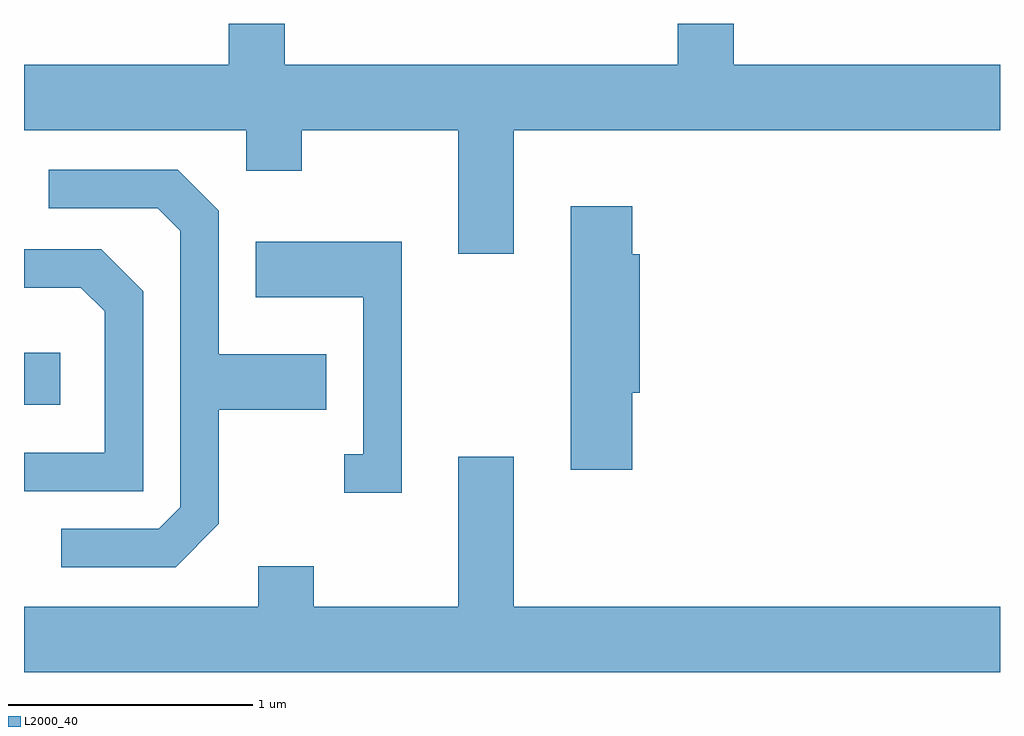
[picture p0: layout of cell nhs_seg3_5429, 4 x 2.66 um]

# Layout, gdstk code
import gdstk
lib = gdstk.Library(unit=1e-6, precision=1e-09)
def R(c, l, rs):  # rectangles x0, y0, x1, y1
    for r in rs: c.add(gdstk.rectangle(r[:2], r[2:], *l))
def P(c, l, *ps):  # polygons
    for p in ps: c.add(gdstk.Polygon(p, *l))
L2000_40 = (2000, 40)

nhs_seg3_5429 = lib.new_cell('nhs_seg3_5429')
R(nhs_seg3_5429, L2000_40, [(343.611,1240.331,343.759,1240.544)])
P(nhs_seg3_5429, L2000_40, [(345.619,1241.456),(347.611,1241.456),(347.611,1241.724),(346.519,1241.724),(346.519,1241.892),(346.291,1241.892),(346.291,1241.724),(344.679,1241.724),(344.679,1241.892),(344.451,1241.892),(344.451,1241.724),(343.611,1241.724),(343.611,1241.456),(344.521,1241.456),(344.521,1241.291),(344.749,1241.291),(344.749,1241.456),(345.391,1241.456),(345.391,1240.951),(345.619,1240.951)],
  [(344.409,1239.844),(344.409,1240.311),(344.849,1240.311),(344.849,1240.539),(344.409,1240.539),(344.409,1241.127),(344.242,1241.294),(343.713,1241.294),(343.713,1241.136),(344.159,1241.136),(344.251,1241.044),(344.251,1239.912),(344.164,1239.824),(343.763,1239.824),(343.763,1239.666),(344.232,1239.666)],
  [(346.104,1240.381),(346.134,1240.381),(346.134,1240.949),(346.104,1240.949),(346.104,1241.144),(345.851,1241.144),(345.851,1240.066),(346.104,1240.066)],
  [(345.159,1240.999),(344.561,1240.999),(344.561,1240.771),(345.001,1240.771),(345.001,1240.129),(344.923,1240.129),(344.923,1239.971),(345.159,1239.971)],
  [(344.099,1240.797),(343.927,1240.969),(343.611,1240.969),(343.611,1240.811),(343.844,1240.811),(343.941,1240.714),(343.941,1240.134),(343.611,1240.134),(343.611,1239.976),(344.099,1239.976)],
  [(347.611,1239.504),(345.619,1239.504),(345.619,1240.119),(345.391,1240.119),(345.391,1239.504),(344.799,1239.504),(344.799,1239.669),(344.571,1239.669),(344.571,1239.504),(343.611,1239.504),(343.611,1239.236),(347.611,1239.236)])

lib.write_gds('nhs_seg3_5429.gds')
